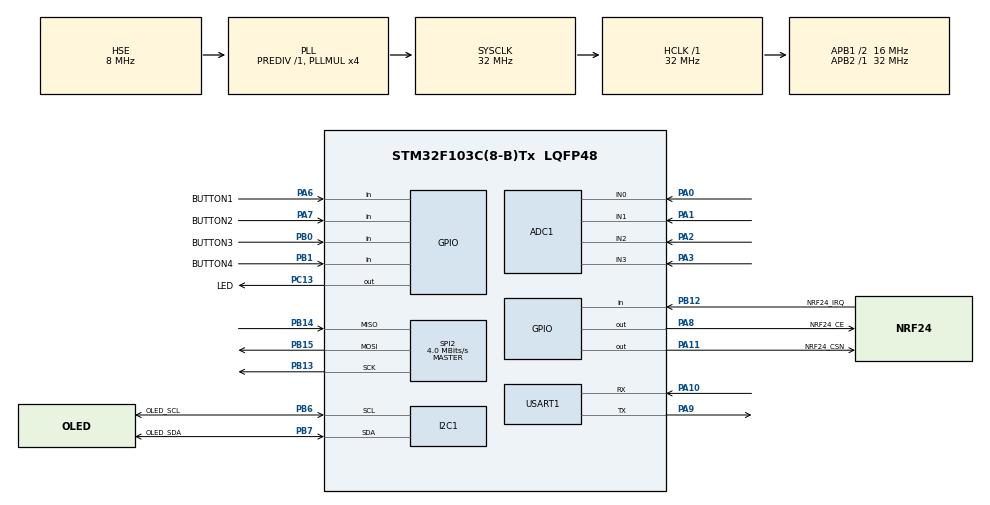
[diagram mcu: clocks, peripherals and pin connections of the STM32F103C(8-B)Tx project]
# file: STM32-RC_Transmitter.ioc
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ADC1.Channel-0\#ChannelRegularConversion=ADC_CHANNEL_0
ADC1.Channel-1\#ChannelRegularConversion=ADC_CHANNEL_1
ADC1.Channel-2\#ChannelRegularConversion=ADC_CHANNEL_2
ADC1.Channel-3\#ChannelRegularConversion=ADC_CHANNEL_3
ADC1.ContinuousConvMode=ENABLE
ADC1.NbrOfConversion=4
ADC1.NbrOfConversionFlag=1
ADC1.Rank-0\#ChannelRegularConversion=1
ADC1.Rank-1\#ChannelRegularConversion=2
ADC1.Rank-2\#ChannelRegularConversion=3
ADC1.Rank-3\#ChannelRegularConversion=4
ADC1.SamplingTime-0\#ChannelRegularConversion=ADC_SAMPLETIME_239CYCLES_5
ADC1.SamplingTime-1\#ChannelRegularConversion=ADC_SAMPLETIME_239CYCLES_5
ADC1.SamplingTime-2\#ChannelRegularConversion=ADC_SAMPLETIME_239CYCLES_5
ADC1.SamplingTime-3\#ChannelRegularConversion=ADC_SAMPLETIME_239CYCLES_5
ADC1.master=1
Dma.ADC1.0.Direction=DMA_PERIPH_TO_MEMORY
Dma.ADC1.0.Instance=DMA1_Channel1
Dma.ADC1.0.MemDataAlignment=DMA_MDATAALIGN_HALFWORD
Dma.ADC1.0.MemInc=DMA_MINC_ENABLE
Dma.ADC1.0.Mode=DMA_CIRCULAR
Dma.ADC1.0.PeriphDataAlignment=DMA_PDATAALIGN_HALFWORD
Dma.ADC1.0.PeriphInc=DMA_PINC_DISABLE
Dma.ADC1.0.Priority=DMA_PRIORITY_LOW
Dma.Request0=ADC1
Mcu.Family=STM32F1
Mcu.Name=STM32F103C(8-B)Tx
Mcu.Package=LQFP48
NVIC.DMA1_Channel1_IRQn=true\:0\:0\:false\:false\:true\:false\:true\:true
NVIC.PriorityGroup=NVIC_PRIORITYGROUP_4
PA0-WKUP.Signal=ADCx_IN0
PA1.Signal=ADCx_IN1
PA10.Mode=Asynchronous
PA10.Signal=USART1_RX
PA11.GPIO_Label=NRF24_CSN
PA11.Signal=GPIO_Output
PA13.Mode=Serial_Wire
PA13.Signal=SYS_JTMS-SWDIO
PA14.Mode=Serial_Wire
PA14.Signal=SYS_JTCK-SWCLK
PA2.Signal=ADCx_IN2
PA3.Signal=ADCx_IN3
PA6.GPIO_Label=BUTTON1
PA6.Signal=GPIO_Input
PA7.GPIO_Label=BUTTON2
PA7.Signal=GPIO_Input
PA8.GPIO_Label=NRF24_CE
PA8.Signal=GPIO_Output
PA9.Mode=Asynchronous
PA9.Signal=USART1_TX
PB0.GPIO_Label=BUTTON3
PB0.Signal=GPIO_Input
PB1.GPIO_Label=BUTTON4
PB1.Signal=GPIO_Input
PB12.GPIO_Label=NRF24_IRQ
PB12.Signal=GPIO_Input
PB13.Mode=Full_Duplex_Master
PB13.Signal=SPI2_SCK
PB14.Mode=Full_Duplex_Master
PB14.Signal=SPI2_MISO
PB15.Mode=Full_Duplex_Master
PB15.Signal=SPI2_MOSI
PB6.GPIO_Label=OLED_SCL
PB6.Mode=I2C
PB6.Signal=I2C1_SCL
PB7.GPIO_Label=OLED_SDA
PB7.Mode=I2C
PB7.Signal=I2C1_SDA
PC13-TAMPER-RTC.GPIO_Label=LED
PC13-TAMPER-RTC.Signal=GPIO_Output
PD0-OSC_IN.Mode=HSE-External-Oscillator
PD0-OSC_IN.Signal=RCC_OSC_IN
PD1-OSC_OUT.Mode=HSE-External-Oscillator
PD1-OSC_OUT.Signal=RCC_OSC_OUT
ProjectManager.HeapSize=0x200
ProjectManager.StackSize=0x400
ProjectManager.TargetToolchain=STM32CubeIDE
RCC.ADCPresc=RCC_ADCPCLK2_DIV4
RCC.AHBFreq_Value=32000000
RCC.APB1CLKDivider=RCC_HCLK_DIV2
RCC.APB1Freq_Value=16000000
RCC.APB1TimFreq_Value=32000000
RCC.APB2Freq_Value=32000000
RCC.APB2TimFreq_Value=32000000
RCC.HCLKFreq_Value=32000000
RCC.PLLMUL=RCC_PLL_MUL4
RCC.PLLSourceVirtual=RCC_PLLSOURCE_HSE
RCC.SYSCLKFreq_VALUE=32000000
RCC.SYSCLKSource=RCC_SYSCLKSOURCE_PLLCLK
RCC.USBFreq_Value=32000000
SH.ADCx_IN0.0=ADC1_IN0,IN0
SH.ADCx_IN1.0=ADC1_IN1,IN1
SH.ADCx_IN2.0=ADC1_IN2,IN2
SH.ADCx_IN3.0=ADC1_IN3,IN3
SPI2.BaudRatePrescaler=SPI_BAUDRATEPRESCALER_4
SPI2.CalculateBaudRate=4.0 MBits/s
SPI2.Direction=SPI_DIRECTION_2LINES
SPI2.Mode=SPI_MODE_MASTER
SPI2.VirtualType=VM_MASTER
USART1.VirtualMode=VM_ASYNC
board=custom

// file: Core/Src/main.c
/* USER CODE BEGIN Header */
/**
  ******************************************************************************
  * @file           : main.c
  * @brief          : Main program body
  ******************************************************************************
  * @attention
  *
  * Copyright (c) 2026 STMicroelectronics.
  * All rights reserved.
  *
  * This software is licensed under terms that can be found in the LICENSE file
  * in the root directory of this software component.
  * If no LICENSE file comes with this software, it is provided AS-IS.
  *
  ******************************************************************************
  */
/* USER CODE END Header */
#include "main.h"

/* USER CODE BEGIN Includes */
#include "nrf24l01.h"
/* USER CODE END Includes */

/* USER CODE BEGIN PTD */
struct RC_Packet{
	uint16_t roll;
	uint16_t pitch;
	uint16_t throttle;
	uint16_t yaw;

	uint8_t arm;
	uint8_t fly_mode;
//	uint8_t rth;
//	uint8_t aux1;
};

typedef enum {
	NORMAL_MODE,
	ALTHOLD_MODE // ALTITUDE HOLD
}fly_Mode;

/* USER CODE END PTD */

ADC_HandleTypeDef hadc1;
DMA_HandleTypeDef hdma_adc1;

I2C_HandleTypeDef hi2c1;

SPI_HandleTypeDef hspi2;

UART_HandleTypeDef huart1;

void SystemClock_Config(void);
static void MX_GPIO_Init(void);
static void MX_DMA_Init(void);
static void MX_ADC1_Init(void);
static void MX_I2C1_Init(void);
static void MX_SPI2_Init(void);
static void MX_USART1_UART_Init(void);

/* USER CODE BEGIN 0 */
uint8_t TxAddr[] = {0xEE, 0xDD, 0xCC, 0xBB, 0xAA};

uint16_t Joystick_ADC[4];
volatile struct RC_Packet m_packet;
/* USER CODE END 0 */

int main(void)
{

  /* MCU Configuration--------------------------------------------------------*/

  /* Reset of all peripherals, Initializes the Flash interface and the Systick. */
  HAL_Init();

  /* Configure the system clock */
  SystemClock_Config();

  /* Initialize all configured peripherals */
  MX_GPIO_Init();
  MX_DMA_Init();
  MX_ADC1_Init();
  MX_I2C1_Init();
  MX_SPI2_Init();
  MX_USART1_UART_Init();
  /* USER CODE BEGIN 2 */
  HAL_ADC_Start_DMA(&hadc1, (uint32_t*)Joystick_ADC, 4);

  NRF24_Init();
  NRF24_TxMode(TxAddr, 10);

  /* USER CODE END 2 */

  /* Infinite loop */
  while (1)
  {

    /* USER CODE BEGIN 3 */

	  m_packet.arm = HAL_GPIO_ReadPin(GPIOA, GPIO_PIN_6);
	  m_packet.fly_mode = HAL_GPIO_ReadPin(GPIOA, GPIO_PIN_7)? NORMAL_MODE: ALTHOLD_MODE;

	  m_packet.roll = Joystick_ADC[0];
	  m_packet.pitch = Joystick_ADC[1];
	  m_packet.yaw = Joystick_ADC[2];
	  m_packet.throttle = Joystick_ADC[3];

	  if(NRF24_Transmit((uint8_t*)&m_packet) == 1)
	  {
		  HAL_GPIO_TogglePin(GPIOC, GPIO_PIN_13);
	  }
	  HAL_Delay(10);

  }
  /* USER CODE END 3 */
}

void SystemClock_Config(void)
{
  RCC_OscInitTypeDef RCC_OscInitStruct = {0};
  RCC_ClkInitTypeDef RCC_ClkInitStruct = {0};
  RCC_PeriphCLKInitTypeDef PeriphClkInit = {0};

  /** Initializes the RCC Oscillators according to the specified parameters
  * in the RCC_OscInitTypeDef structure.
  */
  RCC_OscInitStruct.OscillatorType = RCC_OSCILLATORTYPE_HSE;
  RCC_OscInitStruct.HSEState = RCC_HSE_ON;
  RCC_OscInitStruct.HSEPredivValue = RCC_HSE_PREDIV_DIV1;
  RCC_OscInitStruct.HSIState = RCC_HSI_ON;
  RCC_OscInitStruct.PLL.PLLState = RCC_PLL_ON;
  RCC_OscInitStruct.PLL.PLLSource = RCC_PLLSOURCE_HSE;
  RCC_OscInitStruct.PLL.PLLMUL = RCC_PLL_MUL4;
  if (HAL_RCC_OscConfig(&RCC_OscInitStruct) != HAL_OK)
  {
    Error_Handler();
  }

  /** Initializes the CPU, AHB and APB buses clocks
  */
  RCC_ClkInitStruct.ClockType = RCC_CLOCKTYPE_HCLK|RCC_CLOCKTYPE_SYSCLK
                              |RCC_CLOCKTYPE_PCLK1|RCC_CLOCKTYPE_PCLK2;
  RCC_ClkInitStruct.SYSCLKSource = RCC_SYSCLKSOURCE_PLLCLK;
  RCC_ClkInitStruct.AHBCLKDivider = RCC_SYSCLK_DIV1;
  RCC_ClkInitStruct.APB1CLKDivider = RCC_HCLK_DIV2;
  RCC_ClkInitStruct.APB2CLKDivider = RCC_HCLK_DIV1;

  if (HAL_RCC_ClockConfig(&RCC_ClkInitStruct, FLASH_LATENCY_1) != HAL_OK)
  {
    Error_Handler();
  }
  PeriphClkInit.PeriphClockSelection = RCC_PERIPHCLK_ADC;
  PeriphClkInit.AdcClockSelection = RCC_ADCPCLK2_DIV4;
  if (HAL_RCCEx_PeriphCLKConfig(&PeriphClkInit) != HAL_OK)
  {
    Error_Handler();
  }
}

static void MX_ADC1_Init(void)
{

  ADC_ChannelConfTypeDef sConfig = {0};

  /** Common config
  */
  hadc1.Instance = ADC1;
  hadc1.Init.ScanConvMode = ADC_SCAN_ENABLE;
  hadc1.Init.ContinuousConvMode = ENABLE;
  hadc1.Init.DiscontinuousConvMode = DISABLE;
  hadc1.Init.ExternalTrigConv = ADC_SOFTWARE_START;
  hadc1.Init.DataAlign = ADC_DATAALIGN_RIGHT;
  hadc1.Init.NbrOfConversion = 4;
  if (HAL_ADC_Init(&hadc1) != HAL_OK)
  {
    Error_Handler();
  }

  /** Configure Regular Channel
  */
  sConfig.Channel = ADC_CHANNEL_0;
  sConfig.Rank = ADC_REGULAR_RANK_1;
  sConfig.SamplingTime = ADC_SAMPLETIME_239CYCLES_5;
  if (HAL_ADC_ConfigChannel(&hadc1, &sConfig) != HAL_OK)
  {
    Error_Handler();
  }

  /** Configure Regular Channel
  */
  sConfig.Channel = ADC_CHANNEL_1;
  sConfig.Rank = ADC_REGULAR_RANK_2;
  if (HAL_ADC_ConfigChannel(&hadc1, &sConfig) != HAL_OK)
  {
    Error_Handler();
  }

  /** Configure Regular Channel
  */
  sConfig.Channel = ADC_CHANNEL_2;
  sConfig.Rank = ADC_REGULAR_RANK_3;
  if (HAL_ADC_ConfigChannel(&hadc1, &sConfig) != HAL_OK)
  {
    Error_Handler();
  }

  /** Configure Regular Channel
  */
  sConfig.Channel = ADC_CHANNEL_3;
  sConfig.Rank = ADC_REGULAR_RANK_4;
  if (HAL_ADC_ConfigChannel(&hadc1, &sConfig) != HAL_OK)
  {
    Error_Handler();
  }

}

static void MX_I2C1_Init(void)
{

  hi2c1.Instance = I2C1;
  hi2c1.Init.ClockSpeed = 100000;
  hi2c1.Init.DutyCycle = I2C_DUTYCYCLE_2;
  hi2c1.Init.OwnAddress1 = 0;
  hi2c1.Init.AddressingMode = I2C_ADDRESSINGMODE_7BIT;
  hi2c1.Init.DualAddressMode = I2C_DUALADDRESS_DISABLE;
  hi2c1.Init.OwnAddress2 = 0;
  hi2c1.Init.GeneralCallMode = I2C_GENERALCALL_DISABLE;
  hi2c1.Init.NoStretchMode = I2C_NOSTRETCH_DISABLE;
  if (HAL_I2C_Init(&hi2c1) != HAL_OK)
  {
    Error_Handler();
  }

}

static void MX_SPI2_Init(void)
{

  /* SPI2 parameter configuration*/
  hspi2.Instance = SPI2;
  hspi2.Init.Mode = SPI_MODE_MASTER;
  hspi2.Init.Direction = SPI_DIRECTION_2LINES;
  hspi2.Init.DataSize = SPI_DATASIZE_8BIT;
  hspi2.Init.CLKPolarity = SPI_POLARITY_LOW;
  hspi2.Init.CLKPhase = SPI_PHASE_1EDGE;
  hspi2.Init.NSS = SPI_NSS_SOFT;
  hspi2.Init.BaudRatePrescaler = SPI_BAUDRATEPRESCALER_4;
  hspi2.Init.FirstBit = SPI_FIRSTBIT_MSB;
  hspi2.Init.TIMode = SPI_TIMODE_DISABLE;
  hspi2.Init.CRCCalculation = SPI_CRCCALCULATION_DISABLE;
  hspi2.Init.CRCPolynomial = 10;
  if (HAL_SPI_Init(&hspi2) != HAL_OK)
  {
    Error_Handler();
  }

}

static void MX_USART1_UART_Init(void)
{

  huart1.Instance = USART1;
  huart1.Init.BaudRate = 115200;
  huart1.Init.WordLength = UART_WORDLENGTH_8B;
  huart1.Init.StopBits = UART_STOPBITS_1;
  huart1.Init.Parity = UART_PARITY_NONE;
  huart1.Init.Mode = UART_MODE_TX_RX;
  huart1.Init.HwFlowCtl = UART_HWCONTROL_NONE;
  huart1.Init.OverSampling = UART_OVERSAMPLING_16;
  if (HAL_UART_Init(&huart1) != HAL_OK)
  {
    Error_Handler();
  }

}

static void MX_DMA_Init(void)
{

  /* DMA controller clock enable */
  __HAL_RCC_DMA1_CLK_ENABLE();

  /* DMA interrupt init */
  /* DMA1_Channel1_IRQn interrupt configuration */
  HAL_NVIC_SetPriority(DMA1_Channel1_IRQn, 0, 0);
  HAL_NVIC_EnableIRQ(DMA1_Channel1_IRQn);

}

static void MX_GPIO_Init(void)
{
  GPIO_InitTypeDef GPIO_InitStruct = {0};

  /* GPIO Ports Clock Enable */
  __HAL_RCC_GPIOC_CLK_ENABLE();
  __HAL_RCC_GPIOD_CLK_ENABLE();
  __HAL_RCC_GPIOA_CLK_ENABLE();
  __HAL_RCC_GPIOB_CLK_ENABLE();

  /*Configure GPIO pin Output Level */
  HAL_GPIO_WritePin(LED_GPIO_Port, LED_Pin, GPIO_PIN_RESET);

  /*Configure GPIO pin Output Level */
  HAL_GPIO_WritePin(GPIOA, NRF24_CE_Pin|NRF24_CSN_Pin, GPIO_PIN_RESET);

  /*Configure GPIO pin : LED_Pin */
  GPIO_InitStruct.Pin = LED_Pin;
  GPIO_InitStruct.Mode = GPIO_MODE_OUTPUT_PP;
  GPIO_InitStruct.Pull = GPIO_NOPULL;
  GPIO_InitStruct.Speed = GPIO_SPEED_FREQ_LOW;
  HAL_GPIO_Init(LED_GPIO_Port, &GPIO_InitStruct);

  /*Configure GPIO pins : BUTTON1_Pin BUTTON2_Pin */
  GPIO_InitStruct.Pin = BUTTON1_Pin|BUTTON2_Pin;
  GPIO_InitStruct.Mode = GPIO_MODE_INPUT;
  GPIO_InitStruct.Pull = GPIO_NOPULL;
  HAL_GPIO_Init(GPIOA, &GPIO_InitStruct);

  /*Configure GPIO pins : BUTTON3_Pin BUTTON4_Pin NRF24_IRQ_Pin */
  GPIO_InitStruct.Pin = BUTTON3_Pin|BUTTON4_Pin|NRF24_IRQ_Pin;
  GPIO_InitStruct.Mode = GPIO_MODE_INPUT;
  GPIO_InitStruct.Pull = GPIO_NOPULL;
  HAL_GPIO_Init(GPIOB, &GPIO_InitStruct);

  /*Configure GPIO pins : NRF24_CE_Pin NRF24_CSN_Pin */
  GPIO_InitStruct.Pin = NRF24_CE_Pin|NRF24_CSN_Pin;
  GPIO_InitStruct.Mode = GPIO_MODE_OUTPUT_PP;
  GPIO_InitStruct.Pull = GPIO_NOPULL;
  GPIO_InitStruct.Speed = GPIO_SPEED_FREQ_LOW;
  HAL_GPIO_Init(GPIOA, &GPIO_InitStruct);

}

void Error_Handler(void)
{
  __disable_irq();
  while (1)
  {
  }
}
